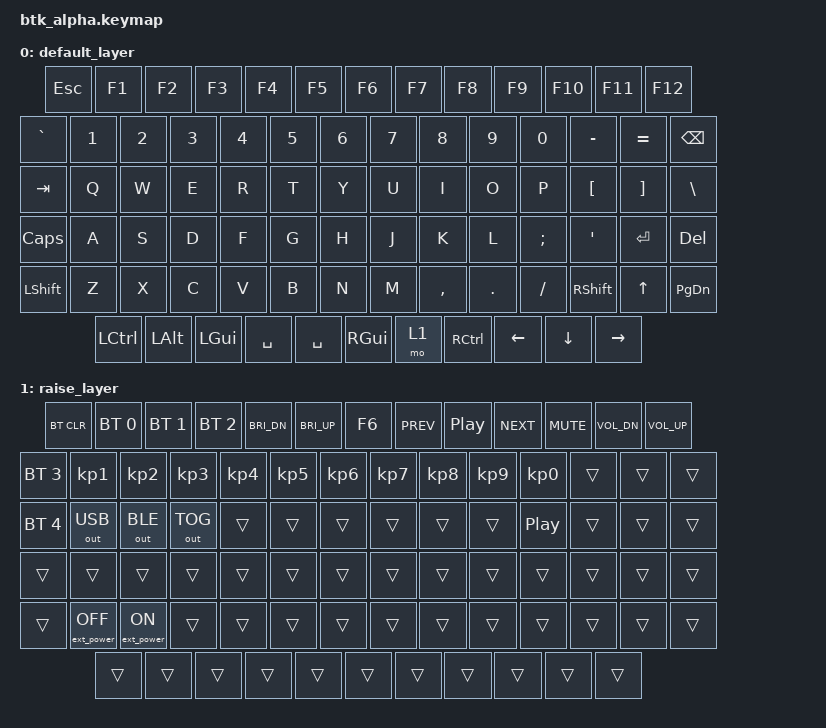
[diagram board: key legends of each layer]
#include <behaviors.dtsi>
#include <dt-bindings/zmk/keys.h>
#include <dt-bindings/zmk/bt.h>
#include <dt-bindings/zmk/outputs.h>
#include <dt-bindings/zmk/ext_power.h>

#define DEFAULT 0
#define RAISE   1

/ {
    behaviors {
        ls: left_space {
            compatible = "zmk,behavior-hold-tap";
            label = "LEFT_SPACE";
            #binding-cells = <2>;
            tapping-term-ms = <250>;
            quick-tap-ms = <0>;
            flavor = "tap-preferred";
            bindings = <&kp>, <&kp>;
        };
    };
    keymap {
        compatible = "zmk,keymap";

        default_layer {
            bindings = <
                &kp ESC       &kp F1 &kp F2 &kp F3 &kp F4 &kp F5 &kp F6 &kp F7 &kp F8 &kp F9 &kp F10 &kp F11 &kp F12
                &kp GRAVE &kp N1  &kp N2  &kp N3  &kp N4  &kp N5  &kp N6  &kp N7  &kp N8  &kp N9  &kp N0    &kp MINUS &kp EQUAL &kp BSPC
                &kp TAB     &kp Q  &kp W  &kp E  &kp R  &kp T  &kp Y  &kp U  &kp I  &kp O  &kp P  &kp LBKT &kp RBKT   &kp BSLH
                &kp CAPS      &kp A  &kp S  &kp D  &kp F  &kp G  &kp H  &kp J  &kp K  &kp L  &kp SEMI    &kp SQT      &kp RET        &kp DEL
                &kp LSHIFT       &kp Z  &kp X  &kp C  &kp V  &kp B  &kp N  &kp M  &kp COMMA &kp DOT &kp FSLH   &kp RSHIFT   &kp UP   &kp PG_DN
                &kp LCTRL  &kp LALT  &kp LGUI      &kp SPACE            &kp SPACE  &kp RGUI &mo 1 &kp RCTRL &kp LEFT &kp DOWN &kp RIGHT
            >;
        };
        raise_layer {
            bindings = <
                &bt BT_CLR   &bt BT_SEL 0 &bt BT_SEL 1 &bt BT_SEL 2 &kp C_BRI_DN &kp C_BRI_UP &kp F6 &kp C_PREV &kp C_PP &kp C_NEXT &kp K_MUTE &kp C_VOL_DN &kp C_VOL_UP
                &bt BT_SEL 3 &kp KP_N1  &kp KP_N2  &kp KP_N3  &kp KP_N4  &kp KP_N5  &kp KP_N6  &kp KP_N7  &kp KP_N8  &kp KP_N9  &kp KP_N0  &trans &trans &trans
                &bt BT_SEL 4 &out OUT_USB  &out OUT_BLE  &out OUT_TOG  &trans  &trans  &trans  &trans  &trans  &trans  &kp C_PP  &trans &trans   &trans
                &trans      &trans  &trans  &trans  &trans  &trans  &trans  &trans  &trans  &trans  &trans &trans         &trans     &trans
                &trans       &ext_power EP_OFF  &ext_power EP_ON  &trans  &trans  &trans  &trans  &trans  &trans &trans &trans   &trans &trans  &trans
                &trans  &trans  &trans      &trans               &trans  &trans &trans &trans &trans &trans &trans
            >;
        };
    };
};
